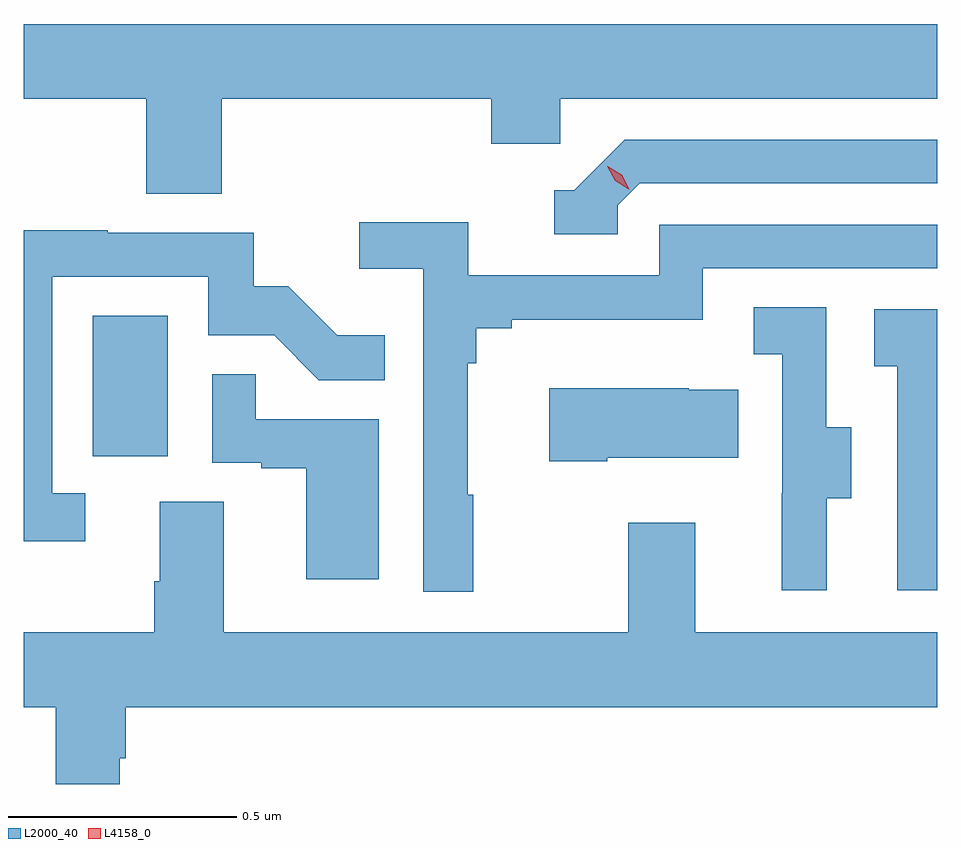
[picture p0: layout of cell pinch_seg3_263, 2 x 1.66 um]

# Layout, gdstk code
import gdstk
lib = gdstk.Library(unit=1e-6, precision=1e-09)
def R(c, l, rs):  # rectangles x0, y0, x1, y1
    for r in rs: c.add(gdstk.rectangle(r[:2], r[2:], *l))
def P(c, l, *ps):  # polygons
    for p in ps: c.add(gdstk.Polygon(p, *l))
L2000_40 = (2000, 40)
L4158_0 = (4158, 0)

pinch_seg3_263 = lib.new_cell('pinch_seg3_263')
R(pinch_seg3_263, L2000_40, [(897.698,726.774,897.862,727.081)])
P(pinch_seg3_263, L2000_40, [(897.98,727.556),(898.571,727.556),(898.571,727.458),(898.722,727.458),(898.722,727.556),(899.547,727.556),(899.547,727.72),(897.547,727.72),(897.547,727.556),(897.815,727.556),(897.815,727.348),(897.98,727.348)],
  [(898.848,727.323),(898.896,727.371),(899.547,727.371),(899.547,727.467),(898.863,727.467),(898.752,727.356),(898.709,727.356),(898.709,727.26),(898.848,727.26)],
  [(898.531,726.689),(898.519,726.689),(898.519,726.977),(898.538,726.977),(898.538,727.054),(898.615,727.054),(898.615,727.073),(899.034,727.073),(899.034,727.185),(899.547,727.185),(899.547,727.281),(898.938,727.281),(898.938,727.17),(898.52,727.17),(898.52,727.286),(898.281,727.286),(898.281,727.184),(898.422,727.184),(898.422,726.477),(898.531,726.477)],
  [(897.682,726.693),(897.609,726.693),(897.609,727.167),(897.951,727.167),(897.951,727.038),(898.095,727.038),(898.193,726.94),(898.337,726.94),(898.337,727.039),(898.233,727.039),(898.126,727.146),(898.05,727.146),(898.05,727.263),(897.731,727.263),(897.731,727.268),(897.547,727.268),(897.547,726.588),(897.682,726.588)],
  [(899.305,726.682),(899.359,726.682),(899.359,726.837),(899.304,726.837),(899.304,727.1),(899.145,727.1),(899.145,726.997),(899.208,726.997),(899.208,726.693),(899.207,726.693),(899.207,726.48),(899.305,726.48)],
  [(899.547,727.095),(899.409,727.095),(899.409,726.971),(899.46,726.971),(899.46,726.48),(899.547,726.48)],
  [(898.324,726.855),(898.055,726.855),(898.055,726.953),(897.96,726.953),(897.96,726.759),(898.067,726.759),(898.067,726.747),(898.166,726.747),(898.166,726.504),(898.324,726.504)],
  [(898.825,726.77),(899.111,726.77),(899.111,726.919),(899.003,726.919),(899.003,726.922),(898.697,726.922),(898.697,726.763),(898.825,726.763)],
  [(897.757,726.112),(897.77,726.112),(897.77,726.224),(899.547,726.224),(899.547,726.388),(899.017,726.388),(899.017,726.628),(898.87,726.628),(898.87,726.388),(897.985,726.388),(897.985,726.674),(897.845,726.674),(897.845,726.5),(897.833,726.5),(897.833,726.388),(897.547,726.388),(897.547,726.224),(897.617,726.224),(897.617,726.056),(897.757,726.056)])
P(pinch_seg3_263, L4158_0, [(898.872,727.358),(898.842,727.377),(898.825,727.409),(898.825,727.409),(898.826,727.409),(898.856,727.39),(898.873,727.358),(898.873,727.358)])

lib.write_gds('pinch_seg3_263.gds')
